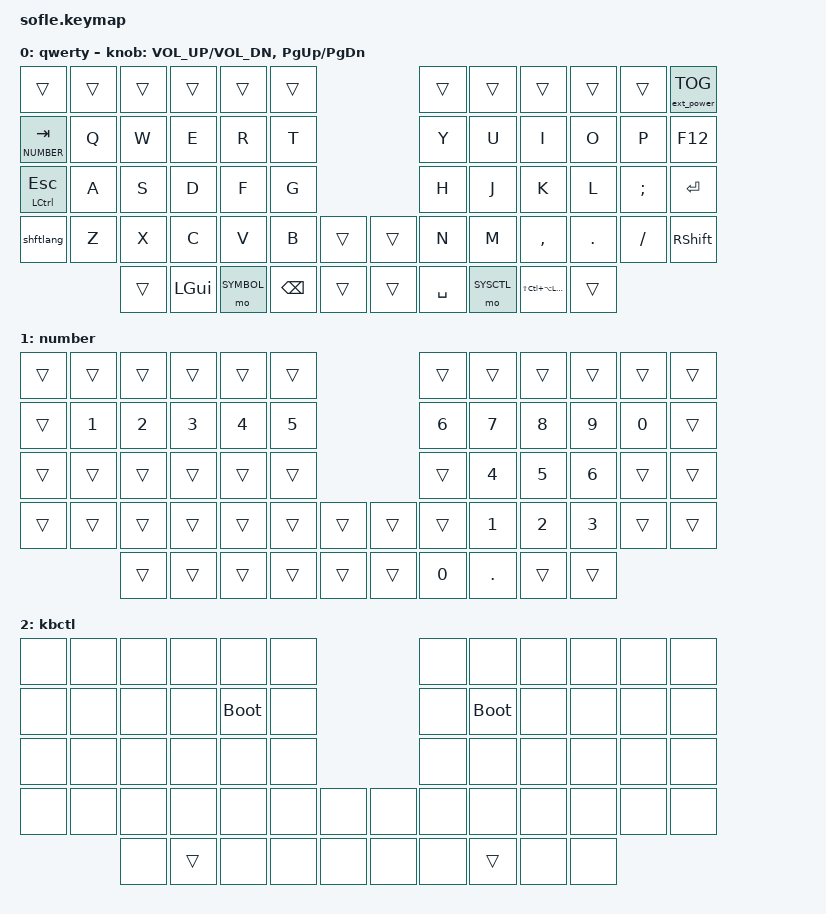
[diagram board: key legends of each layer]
#include <behaviors.dtsi>
#include <dt-bindings/zmk/keys.h>
#include <dt-bindings/zmk/bt.h>
///#include <dt-bindings/zmk/rgb.h>
#include <dt-bindings/zmk/ext_power.h>

// layers
#define QWERTY 0
#define SYSCTL 1
#define SYMBOL 2
#define NUMBER 3
#define KBCTL  4

// keys
#define HYPER LS(LC(LA(LGUI)))

// #oleds
// # rotaries

// // tap dance
//     behaviors {
//         shftcaps: tap_dance_0 {
//             compatible = "zmk,behavior-tap-dance";
//             label = "TAP_DANCE_0";
//            #binding-cells = <0>;
//             tapping-term-ms = <200>;
//             bindings = <&kp LSHFT>, <&caps_word>;
//         };
//         lh_pht: left_positional_hold_tap {
//             compatible = "zmk,behavior-hold-tap";
//             #binding-cells = <2>;
//             flavor = "tap-unless-interrupted";
//             tapping-term-ms = <100>;                        // <---[[produces tap if held longer than tapping-term-ms]]
//             quick-tap-ms = <200>;
//             bindings = <&kp>, <&kp>;
//             hold-trigger-key-positions = <5 6 7 8 9 10>;    // <---[[right-hand keys]]
//         };
//     };

/ {
	
	behaviors {
		shftlang: tap_dance_1 {
			compatible = "zmk,behavior-tap-dance";
			label = "TAP_DANCE_1";
			#binding-cells = <0>;
			tapping-term-ms = <200>;
			bindings = <&kp LSHFT>, <&kp F13>;
		};
	};
	
	// activate KBCTL layer by pressing SYSCTL and SYMBOL
	conditional_layers {
		compatible = "zmk,conditional-layers";
		adjust_layer {
			if-layers = <SYSCTL SYMBOL>;
			then-layer = <KBCTL>;
		};
	};
	
	keymap {
		compatible = "zmk,keymap";
		
		qwerty_layer {
			display-name = "qwerty";
			// |         |     |     |     |     |     |                |     |     |     |     |     |     |
			// | TAB/NUM |  Q  |  W  |  E  |  R  |  T  |                |  Y  |  U  |  I  |  O  |  P  | F12 |
			// | ESC/CLT     |  A  |  S  |  D  |  F  |  G  |                |  H  |  J  |  K  |  L  |  ;  | ENT |
			// | SFT     |  Z  |  X  |  C  |  V  |  B  |    |      |    |  N  |  M  |  ,  |  .  |  /  | SFT |
			//                 |     | CMD | SYM | BSP |    |      |    | SPC | SYS | HPR |     |
			bindings = <
			&trans          &trans  &trans    &trans      &trans     &trans                        &trans   &trans      &trans     &trans   &trans    &ext_power EP_TOG
			&lt NUMBER TAB  &kp Q   &kp W     &kp E       &kp R      &kp T                         &kp Y    &kp U       &kp I      &kp O    &kp P     &kp F12
			&mt LCTRL ESC   &kp A   &kp S     &kp D       &kp F      &kp G                         &kp H    &kp J       &kp K      &kp L    &kp SEMI  &kp ENTER
			&shftlang       &kp Z   &kp X     &kp C       &kp V      &kp B     &trans      &trans  &kp N    &kp M       &kp COMMA  &kp DOT  &kp FSLH  &kp RSHFT
			/**/                    &trans    &kp LGUI    &mo SYMBOL &kp BSPC  &trans      &trans  &kp SPC  &mo SYSCTL  &kp HYPER  &trans
			>;
			
			sensor-bindings = <&inc_dec_kp C_VOL_UP C_VOL_DN &inc_dec_kp PG_UP PG_DN>;
		};
		
		
		// //  ┌─────────┬───┬───┬───┬───┬───┐      ┌───┬───┬───┬───┬───┬───────┐
		// //  │   TAB   │ Q │ W │ E │ R │ T │      │ Y │ U │ I │ O │ P │  F12  │
		// //  ├─────────┼───┼───┼───┼───┼───┤      ├───┼───┼───┼───┼───┼───────┤
		// //  │ ESC/CTL │ A │ S │ D │ F │ G │      │ H │ J │ K │ L │ : │ ENTER │
		// //  ├─────────┼───┼───┼───┼───┼───┤      ├───┼───┼───┼───┼───┼───────┤
		// //  │  SHIFT  │ Z │ X │ C │ V │ B │      │ N │ M │ , │ . │ / │ SHIFT │
		// //  └─────────┴┬──┴──┬┴───┴─┬─┴───┴┐   ┌─┴───┼───┴──┬┴───┴┬──┴───────┘
		// //             │ CMD │ SMBL │ BSPC │   │ SPC │ SYSC │ HPR │
		// //             └─────┴──────┴──────┘   └─────┴──────┴─────┘
		
		
		
		
		// lower_layer {
		// 	display-name = "lower";
		// 	// TODO: Some binds are waiting for shifted keycode support.
		// 	// ------------------------------------------------------------------------------------------------------------
		// 	// |       |  F1 |  F2 |  F3  |  F4  |  F5  |                   |  F6  |  F7   |  F8   |  F9  |  F10  |  F11  |
		// 	// |   `   |  1  |  2  |  3   |  4   |  5   |                   |  6   |  7    |  8    |  9   |   0   |  F12  |
		// 	// |       |  !  |  @  |  #   |  $   |  %   |                   |  ^   |  &    |  *    |  (   |   )   |   |   |
		// 	// |       |  =  |  -  |  +   |  {   |  }   |        |  |       |  [   |  ]    |  ;    |  :   |   \   |       |
		// 	//               |     |      |      |      |        |  |       |      |       |       |      |
		// 	bindings = <
		// 	&trans    &kp F1    &kp F2    &kp F3      &kp F4    &kp F5                    &kp F6    &kp F7   &kp F8    &kp F9    &kp F10   &kp F11
		// 	&kp GRAVE &kp N1    &kp N2    &kp N3      &kp N4    &kp N5                    &kp N6    &kp N7   &kp N8    &kp N9    &kp N0    &kp F12
		// 	&trans    &kp EXCL  &kp AT    &kp HASH    &kp DLLR  &kp PRCNT                 &kp CARET &kp AMPS &kp ASTRK &kp LPAR  &kp RPAR  &kp PIPE
		// 	&trans    &kp EQUAL &kp MINUS &kp PLUS &kp LBRC  &kp RBRC   &trans &trans  &kp LBKT  &kp RBKT &kp SEMI  &kp COLON &kp BSLH  &trans
		// 	&trans    &trans      &trans    &trans     &trans &trans  &trans    &trans   &trans    &trans
		// 	>;
		
		// 	sensor-bindings = <&inc_dec_kp C_VOL_UP C_VOL_DN &inc_dec_kp PG_UP PG_DN>;
		// };
		
		// raise_layer {
		// 	display-name = "raise";
		// 	// ------------------------------------------------------------------------------------------------------------
		// 	// | BTCLR | BT1  | BT2  |  BT3  |  BT4  |  BT5 |                |      |      |       |      |       |       |
		// 	// |       | INS  | PSCR | GUI   |       |      |                | PGUP |      |   ^   |      |       |       |
		// 	// |       | ALT  | CTRL | SHIFT |       | CAPS |                | PGDN |   <- |   v   |  ->  |  DEL  | BKSPC |
		// 	// |       | UNDO | CUT  | COPY  | PASTE |      |      |  |      |      |      |       |      |       |       |
		// 	//                |      |       |       |      |      |  |      |      |      |       |      |
		// 	bindings = <
		// 	&bt BT_CLR &bt BT_SEL 0 &bt BT_SEL 1 &bt BT_SEL 2 &bt BT_SEL 3 &bt BT_SEL 4                  &trans    &trans    &trans   &trans    &trans  &trans
		// 	&trans     &kp INS      &kp PSCRN    &kp K_CMENU  &trans       &trans                        &kp PG_UP &trans    &kp UP   &trans    &kp N0  &trans
		// 	&trans     &kp LALT     &kp LCTRL    &kp LSHFT    &trans       &kp CLCK                      &kp PG_DN &kp LEFT  &kp DOWN &kp RIGHT &kp DEL &kp BSPC
		// 	&trans     &kp K_UNDO   &kp K_CUT    &kp K_COPY   &kp K_PASTE  &trans        &trans  &trans  &trans    &trans    &trans   &trans    &trans  &trans
		// 	&trans       &trans       &trans       &trans        &trans  &trans  &trans    &trans    &trans   &trans
		// 	>;
		
		// 	sensor-bindings = <&inc_dec_kp C_VOL_UP C_VOL_DN &inc_dec_kp PG_UP PG_DN>;
		// };
		
		// adjust_layer {
		// 	// | BTCLR  |  BT1    |  BT2    |   BT3   |   BT4   |   BT5   |                  |      |      |       |      |       |       |
		// 	// | EXTPWR | RGB_HUD | RGB_HUI | RGB_SAD | RGB_SAI | RGB_EFF |                  |      |      |       |      |       |       |
		// 	// |        | RGB_BRD | RGB_BRI |         |         |         |                  |      |      |       |      |       |       |
		// 	// |        |         |         |         |         |         | RGB_TOG | |      |      |      |       |      |       |       |
		// 	//                    |         |         |         |         |         | |      |      |      |       |      |
		// 	display-name = "adjust";
		// 	bindings = <
		// 	&bt BT_CLR        &bt BT_SEL 0    &bt BT_SEL 1    &bt BT_SEL 2    &bt BT_SEL 3    &bt BT_SEL 4                            &none &none &none &none &none &none
		// 	&ext_power EP_TOG &rgb_ug RGB_HUD &rgb_ug RGB_HUI &rgb_ug RGB_SAD &rgb_ug RGB_SAI &rgb_ug RGB_EFF                         &none &none &none &none &none &none
		// 	&none             &rgb_ug RGB_BRD &rgb_ug RGB_BRI &none           &none           &none                                   &none &none &none &none &none &none
		// 	&none             &none           &none           &none           &none           &none            &rgb_ug RGB_TOG &none  &none &none &none &none &none &none
		// 	&none           &none           &none           &none            &none           &none  &none &none &none &none
		// 	>;
		// };
		
		
		
		number_layer {
			display-name = "number";
			// |    |     |     |     |     |     |                   |     |     |     |     |     |    |
			// |    |  1  |  2  |  3  |  4  |  5  |                   |  6  |  7  |  8  |  9  |  0  |    |
			// |    |     |     |     |     |     |                   |     |  4  |  5  |  6  |     |    |
			// |    |     |     |     |     |     |    |        |     |     |  1  |  2  |  3  |     |    |
			//            |     |     |     |     |    |        |     |  0  |  .  |     |     |
			bindings = <
			&trans  &trans  &trans  &trans  &trans  &trans                      &trans  &trans  &trans  &trans  &trans  &trans
			&trans  &kp N1  &kp N2  &kp N3  &kp N4  &kp N5                      &kp N6  &kp N7  &kp N8  &kp N9  &kp N0  &trans
			&trans  &trans  &trans  &trans  &trans  &trans                      &trans  &kp N4  &kp N5  &kp N6  &trans  &trans
			&trans  &trans  &trans  &trans  &trans  &trans  &trans      &trans  &trans  &kp N1  &kp N2  &kp N3  &trans  &trans
			/**/            &trans  &trans  &trans  &trans  &trans      &trans  &kp N0  &kp DOT  &trans  &trans
			>;
		};
		
		kbctl_layer {
			display-name = "kbctl";
			// |    |    |    |    |       |    |                |    |       |    |    |    |    |
			// |    |    |    |    | BTLDR |    |                |    | BTLDR |    |    |    |    |
			// |    |    |    |    |       |    |                |    |       |    |    |    |    |
			// |    |    |    |    |       |    |    |      |    |    |       |    |    |    |    |
			//                |    |       |    |    |      |    |    |       |    |    |    |
			bindings = <
			&none  &none  &none  &none  &none        &none                      &none  &none        &none  &none  &none  &none
			&none  &none  &none  &none  &bootloader  &none                      &none  &bootloader  &none  &none  &none  &none
			&none  &none  &none  &none  &none        &none                      &none  &none        &none  &none  &none  &none
			&none  &none  &none  &none  &none        &none   &none      &none   &none  &none        &none  &none  &none  &none
			/**/          &none  &trans &none        &none   &none      &none   &none  &trans        &none  &none
			>;
		};
	};
};






//                 sysctl_layer {
// // |  TAB |  1  |  2  |  3  |  4  |  5  |   |  6  |  7  |  8  |  9  |  0  | BKSP |
// // | BTCLR| BT1 | BT2 | BT3 | BT4 | BT5 |   | LFT | DWN |  UP | RGT |     |      |
// // | SHFT |     |     |     |     |     |   |     |     |     |     |     |      |
// //                    | GUI |     | SPC |   | ENT |     | ALT |
//                         bindings = <
//    &none  &kp F1   &kp F2   &kp F3    &kp F4  &kp F5       &kp C_MUTE    &kp HOME    &kp UP            &kp END     &kp C_SLEEP           &none
//    &none  &kp F6   &kp F7   &kp F8    &kp F9  &kp F10      &kp C_VOL_UP  &kp LEFT    &kp DOWN          &kp RIGHT   &kp C_AL_SCREENSAVER  &none
//    &none  &kp F11  &kp F12  &none     &none   &none        &kp C_VOL_DN  &kp C_PREV  &kp C_PLAY_PAUSE  &kp C_NEXT  &kp C_AL_LOCK         &none
//                             &kp LGUI  &trans  &kp SPACE    &none         &trans      &kp RALT
//                         >;
//                 };

//                 symbol_layer {
// // |  TAB |  1  |  2  |  3  |  4  |  5  |   |  6  |  7  |  8  |  9  |  0  | BKSP |
// // | BTCLR| BT1 | BT2 | BT3 | BT4 | BT5 |   | LFT | DWN |  UP | RGT |     |      |
// // | SHFT |     |     |     |     |     |   |     |     |     |     |     |      |
// //                    | GUI |     | SPC |   | ENT |     | ALT |
//                                 // !@{}_ \ `
//                                 // #$()- =&'"|
//                                 // %^[]+ *~<>/
//                         bindings = <
//    &bt BT_SEL 0  &kp EXCL   &kp AT     &kp LBRC  &kp RBRC  &kp UNDER    &kp BSLH   &none      &kp GRAVE  &none    &none     &none
//    &bt BT_SEL 1  &kp HASH   &kp DLLR   &kp LPAR  &kp RPAR  &kp MINUS    &kp EQUAL  &kp AMPS   &kp SQT    &kp DQT  &kp PIPE  &none
//    &bt BT_CLR    &kp PRCNT  &kp CARET  &kp LBKT  &kp RBKT  &kp PLUS     &kp ASTRK  &kp TILDE  &kp LT     &kp GT   &kp FSLH  &none
//                           	       &none     &trans    &none        &none      &trans     &none
//                         >;
//                 };




// // home row mods
// // if kbktl works, then move bt 1 2 reset there.
// // game mode

// //screenshot button

///spotify encoder

///make sure all layers work, and keys
// - qwerty
// - number
// - symbol
// - sysctl
// - kbctl
// - bootloader
// - shftlang
// ext_power EP_TOG
